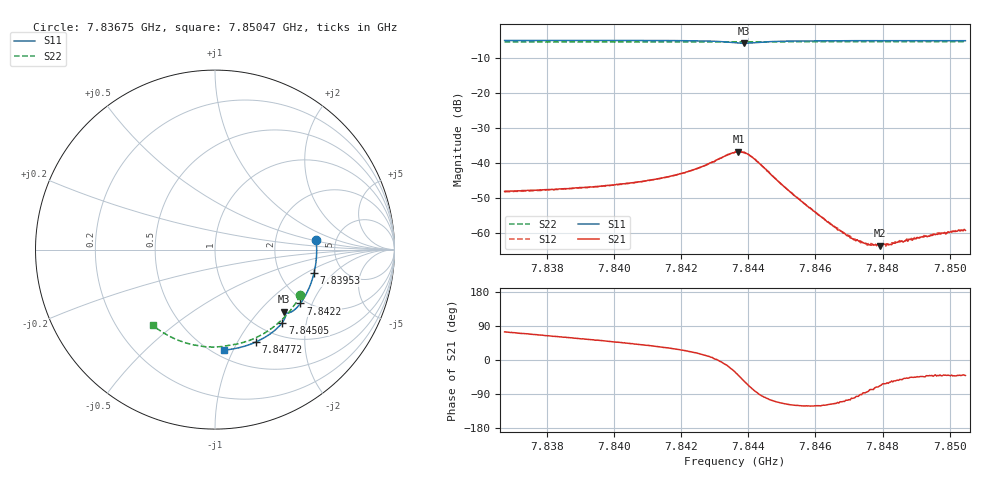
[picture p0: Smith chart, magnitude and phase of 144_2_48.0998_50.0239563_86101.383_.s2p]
#  HZ  S  RI  R  50.00
! Rohde & Schwarz Vector Network Analyzer
! Rohde-Schwarz,ZNB20-2Port,1311601062101988,3.16
! Created: UTC 12/23/2023, 3:49:05 AM
! freq[Hz]  re:S11  im:S11  re:S21  im:S21  re:S12  im:S12  re:S22  im:S22
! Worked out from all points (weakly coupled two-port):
!   401 points, 7.83675 GHz to 7.85047 GHz, reference 50 ohm
!   highest |S21| = -36.77 dB at 7.84371 GHz (marker M1); lowest = -63.7 dB at 7.84793 GHz (marker M2)
!   lowest |S11| = -5.7 dB at 7.84388 GHz (marker M3), VSWR 3.14, Z = 73.7 - j69.5 ohm
!   |S11| at or under -10 dB: nowhere
!   |S22| runs from -5.4 to -5.3 dB; largest |S21 - S12| = 0.00029
!   S11 on the Smith chart (normalised r, x): 7.83675 GHz: 3.52, +0.54; 7.83953 GHz: 3.10, -1.20; 7.8422 GHz: 1.88, -1.65; 7.84505 GHz: 1.25, -1.46; 7.84772 GHz: 0.79, -1.19; 7.85047 GHz: 0.56, -0.92
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7.836749e9  0.5636 0.0524  0.00106 0.00376  0.00107 0.0037  0.4755 -0.2548
7.839047e9  0.5579 -0.1002  0.00249 0.00366  0.00247 0.00363  0.3801 -0.384
7.839527e9  0.5513 -0.1317  0.00282 0.00365  0.00279 0.0036  0.3557 -0.4069
7.840556e9  0.5308 -0.1982  0.00379 0.00356  0.00379 0.00351  0.2985 -0.451
7.841344e9  0.5085 -0.2477  0.0049 0.00342  0.00485 0.0034  0.2508 -0.4795
7.842202e9  0.4761 -0.2999  0.00687 0.00299  0.00685 0.003  0.1961 -0.5044
7.842716e9  0.4503 -0.329  0.009 0.00195  0.00891 0.00201  0.1618 -0.5163
7.843093e9  0.4262 -0.3465  0.0112 -5.14e-05  0.0111 3.08e-05  0.1363 -0.5231
7.843608e9  0.3905 -0.3514  0.0122 -0.0074  0.0121 -0.0074  0.1017 -0.5294
7.843711e9  0.3867 -0.3487  0.011 -0.00947  0.011 -0.00927  0.0953 -0.5306
7.843882e9  0.3855 -0.3449  0.0079 -0.0118  0.00786 -0.0116  0.0842 -0.5323
7.844157e9  0.3915 -0.3493  0.00226 -0.0114  0.0023 -0.0115  0.0667 -0.5359
7.845048e9  0.3754 -0.4062  -0.00196 -0.00425  -0.00194 -0.00427  0.00474 -0.5426
7.845906e9  0.3328 -0.4505  -0.00111 -0.00183  -0.00111 -0.00183  -0.0557 -0.5407
7.846557e9  0.2964 -0.4772  -0.000522 -0.0011  -0.000548 -0.00112  -0.1012 -0.5346
7.847106e9  0.2643 -0.4965  -0.000162 -0.000807  -0.000141 -0.000856  -0.1388 -0.5264
7.847483e9  0.2417 -0.5083  4.06e-05 -0.000698  8.72e-05 -0.000712  -0.1643 -0.5192
7.847723e9  0.2272 -0.5151  0.00014 -0.000658  0.000158 -0.000655  -0.1804 -0.514
7.847929e9  0.2144 -0.5205  0.000242 -0.000603  0.000231 -0.000641  -0.194 -0.509
7.848204e9  0.1972 -0.5273  0.00035 -0.000576  0.000341 -0.00063  -0.212 -0.5021
7.84961e9  0.1069 -0.5524  0.000704 -0.000644  0.000766 -0.000644  -0.2991 -0.4564
7.850467e9  0.0505 -0.56  0.000818 -0.000708  0.000833 -0.000715  -0.3476 -0.4211
